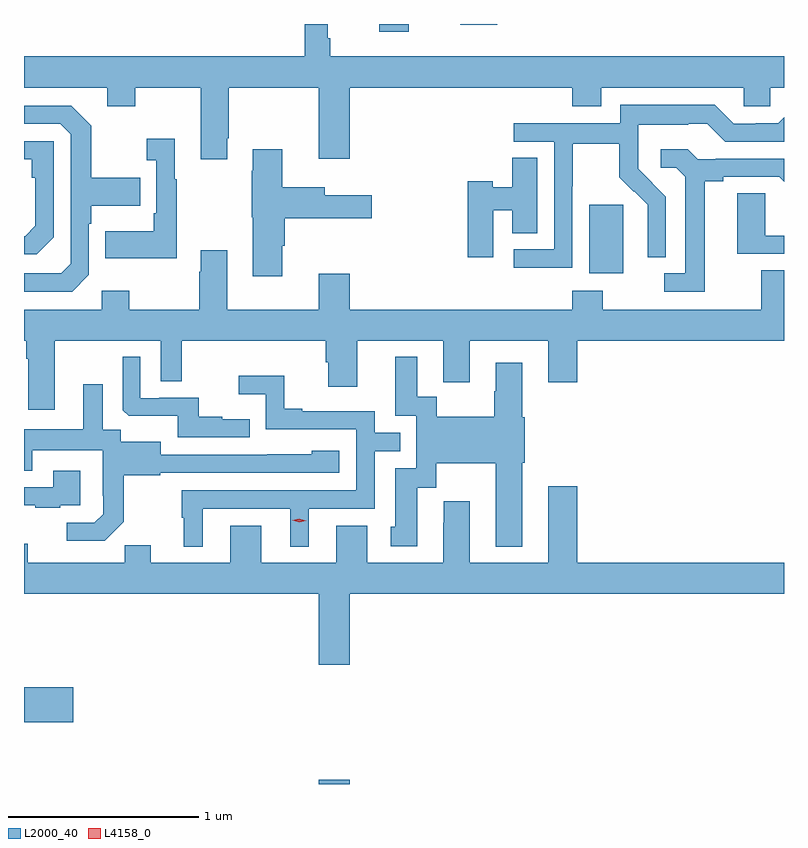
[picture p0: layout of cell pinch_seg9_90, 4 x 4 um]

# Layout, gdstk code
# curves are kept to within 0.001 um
import gdstk
lib = gdstk.Library(unit=1e-6, precision=1e-09)
def R(c, l, rs):  # rectangles x0, y0, x1, y1
    for r in rs: c.add(gdstk.rectangle(r[:2], r[2:], *l))
def P(c, l, *ps):  # polygons
    for p in ps: c.add(gdstk.Polygon(p, *l))
L2000_40 = (2000, 40)
L4158_0 = (4158, 0)

pinch_seg9_90 = lib.new_cell('pinch_seg9_90')
R(pinch_seg9_90, L2000_40, [(1112.06,1176.771,1112.224,1176.793), (1110.51,1177.097,1110.769,1177.28), (1113.485,1179.458,1113.664,1179.819), (1112.381,1180.731,1112.536,1180.771), (1112.805,1180.766,1113.002,1180.771)])
P(pinch_seg9_90, L2000_40, [(1112.123,1180.696),(1112.108,1180.696),(1112.108,1180.771),(1111.987,1180.771),(1111.987,1180.6),(1110.51,1180.6),(1110.51,1180.436),(1110.947,1180.436),(1110.947,1180.337),(1111.095,1180.337),(1111.095,1180.436),(1111.439,1180.436),(1111.439,1180.059),(1111.579,1180.059),(1111.579,1180.171),(1111.587,1180.171),(1111.587,1180.436),(1112.06,1180.436),(1112.06,1180.062),(1112.224,1180.062),(1112.224,1180.436),(1113.395,1180.436),(1113.395,1180.337),(1113.547,1180.337),(1113.547,1180.436),(1114.299,1180.436),(1114.299,1180.338),(1114.437,1180.338),(1114.437,1180.436),(1114.51,1180.436),(1114.51,1180.6),(1112.123,1180.6)],
  [(1113.396,1179.916),(1113.399,1179.916),(1113.399,1180.14),(1113.643,1180.14),(1113.643,1179.965),(1113.72,1179.888),(1113.723,1179.891),(1113.794,1179.821),(1113.794,1179.698),(1113.792,1179.698),(1113.792,1179.544),(1113.888,1179.544),(1113.888,1179.862),(1113.742,1180.01),(1113.742,1180.107),(1113.744,1180.107),(1113.744,1180.241),(1114.007,1180.241),(1114.007,1180.245),(1114.107,1180.245),(1114.2,1180.152),(1114.51,1180.152),(1114.51,1180.279),(1114.479,1180.248),(1114.361,1180.248),(1114.361,1180.245),(1114.245,1180.245),(1114.145,1180.345),(1113.648,1180.345),(1113.648,1180.248),(1113.087,1180.248),(1113.087,1180.152),(1113.3,1180.152),(1113.3,1179.585),(1113.087,1179.585),(1113.087,1179.487),(1113.396,1179.487)],
  [(1110.852,1179.45),(1110.852,1179.719),(1110.865,1179.719),(1110.865,1179.815),(1111.121,1179.815),(1111.121,1179.963),(1110.865,1179.963),(1110.865,1180.235),(1110.759,1180.341),(1110.51,1180.341),(1110.51,1180.245),(1110.702,1180.245),(1110.756,1180.191),(1110.756,1179.51),(1110.705,1179.459),(1110.51,1179.459),(1110.51,1179.363),(1110.765,1179.363)],
  [(1111.315,1179.955),(1111.303,1179.955),(1111.303,1180.168),(1111.155,1180.168),(1111.155,1180.055),(1111.206,1180.055),(1111.206,1179.775),(1111.194,1179.775),(1111.194,1179.679),(1110.937,1179.679),(1110.937,1179.539),(1111.315,1179.539)],
  [(1110.666,1179.648),(1110.666,1180.155),(1110.51,1180.155),(1110.51,1180.059),(1110.55,1180.059),(1110.55,1179.962),(1110.57,1179.962),(1110.57,1179.708),(1110.517,1179.655),(1110.51,1179.655),(1110.51,1179.558),(1110.576,1179.558)],
  [(1114.093,1179.944),(1114.189,1179.944),(1114.189,1179.966),(1114.484,1179.966),(1114.51,1179.94),(1114.51,1180.062),(1114.15,1180.062),(1114.15,1180.059),(1114.056,1180.059),(1114.004,1180.111),(1113.861,1180.111),(1113.861,1180.014),(1113.942,1180.014),(1113.989,1179.967),(1113.989,1179.459),(1113.879,1179.459),(1113.879,1179.363),(1114.093,1179.363)],
  [(1111.87,1179.605),(1111.883,1179.605),(1111.883,1179.749),(1112.341,1179.749),(1112.341,1179.871),(1112.092,1179.871),(1112.092,1179.913),(1111.87,1179.913),(1111.87,1180.111),(1111.715,1180.111),(1111.715,1179.998),(1111.708,1179.998),(1111.708,1179.753),(1111.715,1179.753),(1111.715,1179.444),(1111.87,1179.444)],
  [(1112.98,1179.791),(1113.08,1179.791),(1113.08,1179.67),(1113.211,1179.67),(1113.211,1180.067),(1113.08,1180.067),(1113.08,1179.913),(1112.976,1179.913),(1112.976,1179.944),(1112.846,1179.944),(1112.846,1179.543),(1112.98,1179.543)],
  [(1114.51,1179.657),(1114.41,1179.657),(1114.41,1179.881),(1114.265,1179.881),(1114.265,1179.561),(1114.51,1179.561)],
  [(1112.224,1179.457),(1112.06,1179.457),(1112.06,1179.268),(1111.579,1179.268),(1111.579,1179.58),(1111.439,1179.58),(1111.439,1179.467),(1111.432,1179.467),(1111.432,1179.268),(1111.065,1179.268),(1111.065,1179.367),(1110.918,1179.367),(1110.918,1179.268),(1110.51,1179.268),(1110.51,1179.104),(1110.521,1179.104),(1110.521,1179.008),(1110.533,1179.008),(1110.533,1178.742),(1110.673,1178.742),(1110.673,1179.104),(1111.23,1179.104),(1111.23,1178.89),(1111.339,1178.89),(1111.339,1179.104),(1112.099,1179.104),(1112.099,1178.991),(1112.111,1178.991),(1112.111,1178.862),(1112.263,1178.862),(1112.263,1179.104),(1112.717,1179.104),(1112.717,1178.886),(1112.857,1178.886),(1112.857,1179.104),(1113.269,1179.104),(1113.269,1178.886),(1113.422,1178.886),(1113.422,1179.104),(1114.51,1179.104),(1114.51,1179.476),(1114.391,1179.476),(1114.391,1179.268),(1113.555,1179.268),(1113.555,1179.367),(1113.395,1179.367),(1113.395,1179.268),(1112.224,1179.268)],
  [(1113.133,1178.463),(1113.146,1178.463),(1113.146,1178.7),(1113.133,1178.7),(1113.133,1178.989),(1112.993,1178.989),(1112.993,1178.838),(1112.986,1178.838),(1112.986,1178.704),(1112.683,1178.704),(1112.683,1178.81),(1112.581,1178.81),(1112.581,1179.019),(1112.465,1179.019),(1112.465,1178.709),(1112.574,1178.709),(1112.574,1178.433),(1112.465,1178.433),(1112.465,1178.124),(1112.441,1178.124),(1112.441,1178.022),(1112.581,1178.022),(1112.581,1178.33),(1112.679,1178.33),(1112.679,1178.459),(1112.993,1178.459),(1112.993,1178.021),(1113.133,1178.021)],
  [(1111.697,1178.692),(1111.553,1178.692),(1111.553,1178.704),(1111.43,1178.704),(1111.43,1178.805),(1111.222,1178.805),(1111.222,1178.802),(1111.122,1178.802),(1111.122,1179.019),(1111.029,1179.019),(1111.029,1178.739),(1111.061,1178.708),(1111.32,1178.708),(1111.32,1178.595),(1111.697,1178.595)],
  [(1111.45,1178.22),(1111.91,1178.22),(1111.91,1178.021),(1112.008,1178.021),(1112.008,1178.22),(1112.355,1178.22),(1112.355,1178.523),(1112.489,1178.523),(1112.489,1178.619),(1112.355,1178.619),(1112.355,1178.733),(1111.975,1178.733),(1111.975,1178.746),(1111.881,1178.746),(1111.881,1178.921),(1111.641,1178.921),(1111.641,1178.822),(1111.782,1178.822),(1111.782,1178.637),(1112.259,1178.637),(1112.259,1178.316),(1111.341,1178.316),(1111.341,1178.172),(1111.352,1178.172),(1111.352,1178.021),(1111.45,1178.021)],
  [(1111.035,1178.151),(1111.035,1178.397),(1111.227,1178.397),(1111.227,1178.409),(1112.17,1178.409),(1112.17,1178.524),(1112.025,1178.524),(1112.025,1178.506),(1111.231,1178.505),(1111.231,1178.572),(1111.02,1178.572),(1111.02,1178.636),(1110.925,1178.636),(1110.925,1178.875),(1110.821,1178.875),(1110.821,1178.638),(1110.51,1178.638),(1110.51,1178.419),(1110.553,1178.419),(1110.553,1178.528),(1110.924,1178.528),(1110.924,1178.287),(1110.926,1178.287),(1110.926,1178.192),(1110.879,1178.145),(1110.735,1178.145),(1110.735,1178.051),(1110.935,1178.051)],
  [(1110.701,1178.238),(1110.805,1178.238),(1110.805,1178.419),(1110.665,1178.419),(1110.665,1178.334),(1110.51,1178.334),(1110.51,1178.237),(1110.569,1178.237),(1110.569,1178.226),(1110.701,1178.226)],
  [(1112.224,1177.772),(1114.51,1177.772),(1114.51,1177.936),(1113.422,1177.936),(1113.422,1178.338),(1113.269,1178.338),(1113.269,1177.936),(1112.857,1177.936),(1112.857,1178.26),(1112.72,1178.26),(1112.72,1178.147),(1112.717,1178.147),(1112.717,1177.936),(1112.317,1177.936),(1112.317,1178.131),(1112.153,1178.131),(1112.153,1177.936),(1111.759,1177.936),(1111.759,1178.131),(1111.595,1178.131),(1111.595,1177.936),(1111.177,1177.936),(1111.177,1178.027),(1111.039,1178.027),(1111.039,1177.936),(1110.529,1177.936),(1110.529,1178.035),(1110.51,1178.035),(1110.51,1177.772),(1112.06,1177.772),(1112.06,1177.398),(1112.224,1177.398)])
P(pinch_seg9_90, L4158_0, [(1111.959,1178.148),(1111.923,1178.158),(1111.923,1178.159),(1111.923,1178.159),(1111.959,1178.168),(1111.995,1178.157),(1111.995,1178.157),(1111.995,1178.157)])

lib.write_gds('pinch_seg9_90.gds')
